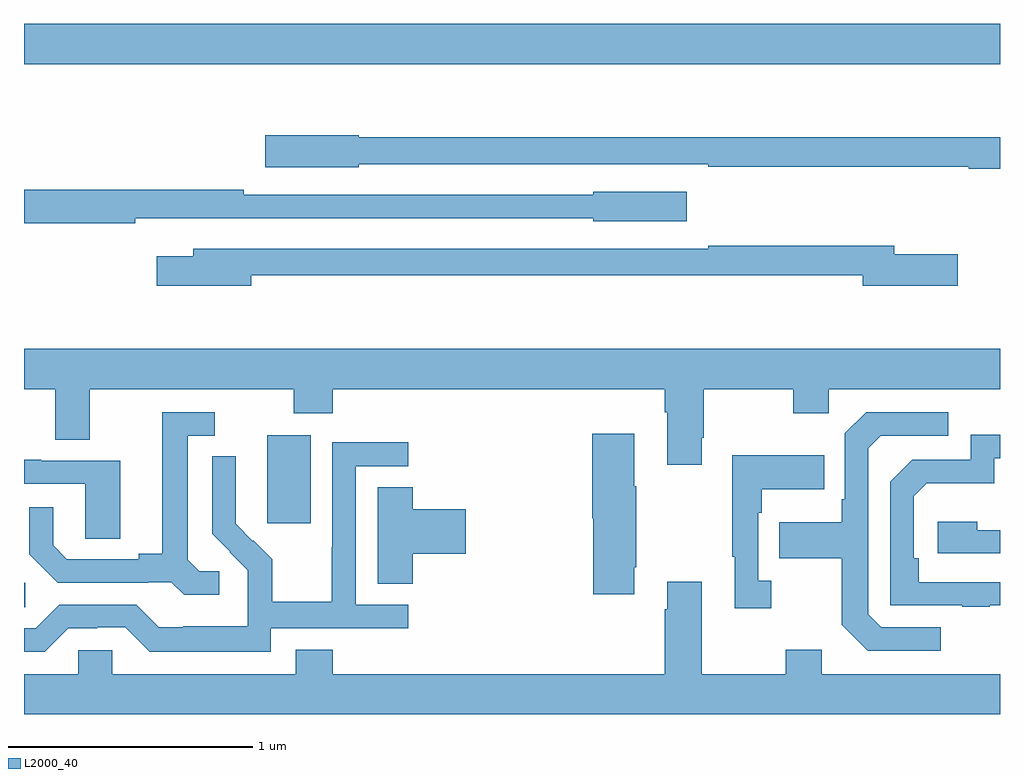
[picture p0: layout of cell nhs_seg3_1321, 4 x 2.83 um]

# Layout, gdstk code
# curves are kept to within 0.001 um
import gdstk
lib = gdstk.Library(unit=1e-6, precision=1e-09)
def R(c, l, rs):  # rectangles x0, y0, x1, y1
    for r in rs: c.add(gdstk.rectangle(r[:2], r[2:], *l))
def P(c, l, *ps):  # polygons
    for p in ps: c.add(gdstk.Polygon(p, *l))
L2000_40 = (2000, 40)

nhs_seg3_1321 = lib.new_cell('nhs_seg3_1321')
R(nhs_seg3_1321, L2000_40, [(179,717.337,179.005,717.438), (179.996,717.681,180.175,718.042), (179,719.564,183,719.728)])
P(nhs_seg3_1321, L2000_40, [(183,719.263),(180.372,719.263),(180.372,719.271),(179.988,719.271),(179.988,719.141),(180.372,719.141),(180.372,719.154),(181.804,719.154),(181.804,719.142),(182.872,719.142),(182.872,719.134),(183,719.134)],
  [(179.456,718.932),(181.332,718.932),(181.332,718.919),(181.717,718.919),(181.717,719.041),(181.332,719.041),(181.332,719.028),(179.9,719.028),(179.9,719.048),(179,719.048),(179,718.912),(179.456,718.912)],
  [(179.932,718.698),(182.438,718.698),(182.438,718.655),(182.827,718.655),(182.827,718.785),(182.566,718.785),(182.566,718.819),(181.804,718.819),(181.804,718.806),(179.693,718.806),(179.693,718.777),(179.544,718.777),(179.544,718.655),(179.932,718.655)],
  [(181.777,718.033),(181.785,718.033),(181.785,718.232),(182.152,718.232),(182.152,718.133),(182.298,718.133),(182.298,718.232),(183,718.232),(183,718.396),(179,718.396),(179,718.232),(179.129,718.232),(179.129,718.024),(179.269,718.024),(179.269,718.232),(180.106,718.232),(180.106,718.133),(180.266,718.133),(180.266,718.232),(181.625,718.232),(181.625,718.136),(181.637,718.136),(181.637,717.921),(181.777,717.921)],
  [(179.8,717.486),(179.718,717.486),(179.671,717.533),(179.671,718.041),(179.782,718.041),(179.782,718.137),(179.567,718.137),(179.567,717.557),(179.471,717.557),(179.471,717.534),(179.176,717.534),(179.119,717.591),(179.119,717.748),(179.022,717.748),(179.022,717.554),(179.138,717.438),(179.51,717.438),(179.51,717.441),(179.604,717.441),(179.656,717.389),(179.8,717.389)],
  [(182.758,717.255),(182.514,717.255),(182.46,717.309),(182.46,717.99),(182.511,718.041),(182.788,718.041),(182.788,718.137),(182.451,718.137),(182.364,718.05),(182.364,717.781),(182.352,717.781),(182.352,717.685),(182.095,717.685),(182.095,717.538),(182.352,717.538),(182.352,717.265),(182.457,717.159),(182.758,717.159)],
  [(181.501,717.502),(181.509,717.502),(181.509,717.833),(181.501,717.833),(181.501,718.048),(181.328,718.048),(181.328,717.702),(181.334,717.702),(181.334,717.39),(181.501,717.39)],
  [(182.957,717.345),(183,717.345),(183,717.441),(182.666,717.441),(182.666,717.538),(182.646,717.538),(182.646,717.792),(182.699,717.845),(182.976,717.845),(182.976,717.948),(183,717.948),(183,718.044),(182.88,718.044),(182.88,717.942),(182.64,717.942),(182.55,717.852),(182.55,717.345),(182.845,717.345),(182.845,717.34),(182.957,717.34)],
  [(180.012,717.252),(180.574,717.252),(180.574,717.348),(180.36,717.348),(180.36,717.915),(180.574,717.915),(180.574,718.014),(180.264,718.014),(180.264,717.584),(180.262,717.584),(180.262,717.361),(180.017,717.361),(180.017,717.535),(179.94,717.612),(179.937,717.609),(179.867,717.68),(179.868,717.956),(179.772,717.956),(179.772,717.638),(179.918,717.49),(179.918,717.393),(179.916,717.393),(179.916,717.259),(179.653,717.259),(179.653,717.255),(179.553,717.255),(179.46,717.348),(179.145,717.348),(179.049,717.252),(179,717.252),(179,717.156),(179.085,717.156),(179.181,717.252),(179.3,717.252),(179.3,717.255),(179.415,717.255),(179.515,717.155),(180.012,717.155)],
  [(182.062,717.446),(182.01,717.446),(182.01,717.725),(182.023,717.725),(182.023,717.821),(182.279,717.821),(182.279,717.961),(181.902,717.961),(181.902,717.545),(181.913,717.545),(181.913,717.333),(182.062,717.333)],
  [(179.395,717.939),(179.071,717.939),(179.071,717.943),(179,717.943),(179,717.843),(179.25,717.843),(179.25,717.619),(179.395,717.619)],
  [(180.593,717.557),(180.811,717.557),(180.811,717.74),(180.593,717.74),(180.593,717.83),(180.449,717.83),(180.449,717.433),(180.593,717.433)],
  [(183,717.654),(182.906,717.654),(182.906,717.688),(182.745,717.688),(182.745,717.558),(183,717.558)],
  [(183,717.064),(182.269,717.064),(182.269,717.163),(182.122,717.163),(182.122,717.064),(181.777,717.064),(181.777,717.442),(181.637,717.442),(181.637,717.329),(181.625,717.329),(181.625,717.064),(180.266,717.064),(180.266,717.163),(180.113,717.163),(180.113,717.064),(179.361,717.064),(179.361,717.162),(179.223,717.162),(179.223,717.064),(179,717.064),(179,716.9),(183,716.9)])

lib.write_gds('nhs_seg3_1321.gds')
